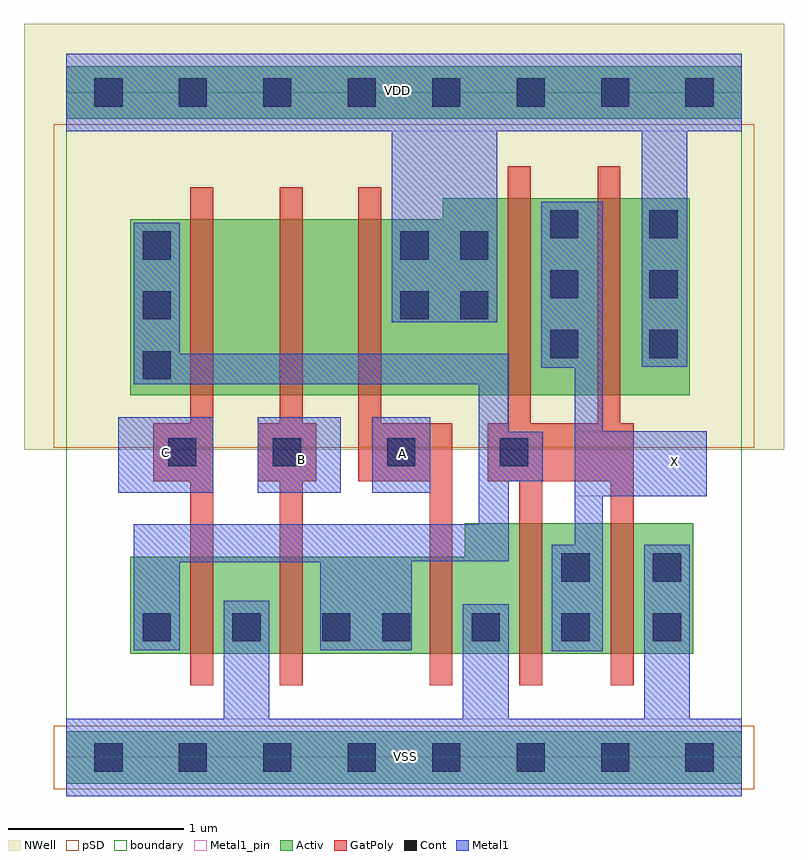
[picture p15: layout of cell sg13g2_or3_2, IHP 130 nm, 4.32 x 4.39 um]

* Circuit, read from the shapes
.subckt sg13g2_or3_2 A B C VDD VSS X
XM1 VSS C n1 VSS sg13_lv_nmos w=0.55u l=0.13u
XM2 n1 B VSS VSS sg13_lv_nmos w=0.55u l=0.13u
XM3 VSS A n1 VSS sg13_lv_nmos w=0.55u l=0.13u
XM4 X n1 VSS VSS sg13_lv_nmos w=0.74u l=0.13u m=2
XM5 n2 C n1 VDD sg13_lv_pmos w=1u l=0.13u
XM6 n3 B n2 VDD sg13_lv_pmos w=1u l=0.13u
XM7 VDD A n3 VDD sg13_lv_pmos w=1u l=0.13u
XM8 X n1 VDD VDD sg13_lv_pmos w=1.12u l=0.13u m=2
.ends

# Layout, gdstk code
import gdstk
lib = gdstk.Library(unit=1e-6, precision=1e-09)
def R(c, l, rs):  # rectangles x0, y0, x1, y1
    for r in rs: c.add(gdstk.rectangle(r[:2], r[2:], *l))
def A(c, l, x, y, w, h, nx, ny, dx, dy):  # array of equal rectangles
    R(c, l, [(x+i*dx, y+j*dy, x+i*dx+w, y+j*dy+h) for i in range(nx) for j in range(ny)])
def P(c, l, *ps):  # polygons
    for p in ps: c.add(gdstk.Polygon(p, *l))
Activ = (1, 0)
GatPoly = (5, 0)
Cont = (6, 0)
Metal1 = (8, 0)
Metal1_pin = (8, 2)
pSD = (14, 0)
NWell = (31, 0)
boundary = (189, 4)

sg13g2_or3_2 = lib.new_cell('sg13g2_or3_2')
R(sg13g2_or3_2, Activ, [(0,-0.15,3.84,0.15), (0,3.63,3.84,3.93)])
P(sg13g2_or3_2, Activ, [(0.365,2.06),(0.365,3.06),(2.14,3.06),(2.14,3.18),(3.545,3.18),(3.545,2.06)],
  [(0.365,0.59),(0.365,1.14),(2.265,1.14),(2.265,1.33),(3.565,1.33),(3.565,0.59)])
P(sg13g2_or3_2, GatPoly, [(2.575,0.41),(2.575,1.57),(2.395,1.57),(2.395,1.9),(2.51,1.9),(2.51,3.36),(2.64,3.36),(2.64,1.9),(3.02,1.9),(3.02,3.36),(3.15,3.36),(3.15,1.9),(3.225,1.9),(3.225,0.41),(3.095,0.41),(3.095,1.57),(2.705,1.57),(2.705,0.41)],
  [(0.705,0.41),(0.705,1.57),(0.495,1.57),(0.495,1.9),(0.705,1.9),(0.705,3.24),(0.835,3.24),(0.835,0.41)],
  [(2.065,0.41),(2.065,1.57),(1.66,1.57),(1.66,3.24),(1.79,3.24),(1.79,1.9),(2.195,1.9),(2.195,0.41)],
  [(1.215,0.41),(1.215,1.57),(1.09,1.57),(1.09,1.9),(1.215,1.9),(1.215,3.24),(1.345,3.24),(1.345,1.9),(1.42,1.9),(1.42,1.57),(1.345,1.57),(1.345,0.41)])
A(sg13g2_or3_2, Cont, 0.16, -0.08, 0.16, 0.16, 8, 1, 0.48, 0)
A(sg13g2_or3_2, Cont, 0.435, 0.66, 0.16, 0.16, 3, 1, 0.51, 0)
A(sg13g2_or3_2, Cont, 1.795, 0.66, 0.16, 0.16, 3, 1, 0.51, 0)
A(sg13g2_or3_2, Cont, 0.435, 2.15, 0.16, 0.16, 1, 3, 0, 0.34)
A(sg13g2_or3_2, Cont, 2.75, 2.27, 0.16, 0.16, 1, 3, 0, 0.34)
A(sg13g2_or3_2, Cont, 3.315, 2.27, 0.16, 0.16, 1, 3, 0, 0.34)
R(sg13g2_or3_2, Cont, [(3.335,0.66,3.495,0.82), (2.815,1,2.975,1.16), (3.335,1,3.495,1.16), (0.58,1.655,0.74,1.815), (1.175,1.655,1.335,1.815), (1.825,1.655,1.985,1.815), (2.465,1.655,2.625,1.815), (1.9,2.49,2.06,2.65), (2.24,2.49,2.4,2.65), (1.9,2.83,2.06,2.99), (2.24,2.83,2.4,2.99), (0.16,3.7,0.32,3.86), (0.16,3.7,0.32,3.86), (0.64,3.7,0.8,3.86), (0.64,3.7,0.8,3.86), (1.12,3.7,1.28,3.86), (1.12,3.7,1.28,3.86), (1.6,3.7,1.76,3.86), (1.6,3.7,1.76,3.86), (2.08,3.7,2.24,3.86), (2.08,3.7,2.24,3.86), (2.56,3.7,2.72,3.86), (2.56,3.7,2.72,3.86), (3.04,3.7,3.2,3.86), (3.04,3.7,3.2,3.86), (3.52,3.7,3.68,3.86)])
R(sg13g2_or3_2, Metal1, [(0.295,1.505,0.835,1.935), (1.09,1.505,1.56,1.935), (1.74,1.505,2.07,1.935)])
P(sg13g2_or3_2, Metal1, [(0,-0.22),(0,0.22),(0.895,0.22),(0.895,0.89),(1.155,0.89),(1.155,0.22),(2.255,0.22),(2.255,0.87),(2.515,0.87),(2.515,0.22),(3.285,0.22),(3.285,1.21),(3.545,1.21),(3.545,0.22),(3.84,0.22),(3.84,-0.22)],
  [(2.76,0.605),(2.76,1.21),(2.89,1.21),(2.89,2.215),(2.7,2.215),(2.7,3.16),(3.05,3.16),(3.05,1.855),(3.64,1.855),(3.64,1.485),(3.05,1.485),(3.05,0.605)],
  [(3.27,2.22),(3.27,3.56),(2.45,3.56),(2.45,2.475),(1.85,2.475),(1.85,3.56),(0,3.56),(0,4),(3.84,4),(3.84,3.56),(3.53,3.56),(3.53,2.22)],
  [(0.385,0.61),(0.385,1.325),(2.345,1.325),(2.345,2.12),(0.385,2.12),(0.385,3.04),(0.645,3.04),(0.645,2.295),(2.515,2.295),(2.515,1.85),(2.71,1.85),(2.71,1.57),(2.515,1.57),(2.515,1.115),(1.965,1.115),(1.965,0.61),(1.445,0.61),(1.445,1.11),(0.645,1.11),(0.645,0.61)])
R(sg13g2_or3_2, Metal1_pin, [(0,-0.22,3.84,0.22), (2.89,1.485,3.64,1.855), (0.295,1.505,0.835,1.935), (1.09,1.505,1.56,1.935), (1.74,1.505,2.07,1.935), (0,3.56,3.84,4)])
R(sg13g2_or3_2, pSD, [(-0.07,-0.18,3.91,0.18), (-0.07,1.76,3.91,3.6)])
R(sg13g2_or3_2, NWell, [(-0.24,1.75,4.08,4.17)])
R(sg13g2_or3_2, boundary, [(0,0,3.84,3.78)])
sg13g2_or3_2.add(gdstk.Label('VDD', (1.885,3.79), layer=8, texttype=25))
sg13g2_or3_2.add(gdstk.Label('VSS', (1.93,0.005), layer=8, texttype=25))
sg13g2_or3_2.add(gdstk.Label('C', (0.565,1.735), layer=8, texttype=25))
sg13g2_or3_2.add(gdstk.Label('B', (1.335,1.695), layer=8, texttype=25))
sg13g2_or3_2.add(gdstk.Label('A', (1.91,1.725), layer=8, texttype=25))
sg13g2_or3_2.add(gdstk.Label('X', (3.455,1.68), layer=8, texttype=25))

lib.write_gds('sg13g2_or3_2.gds')
